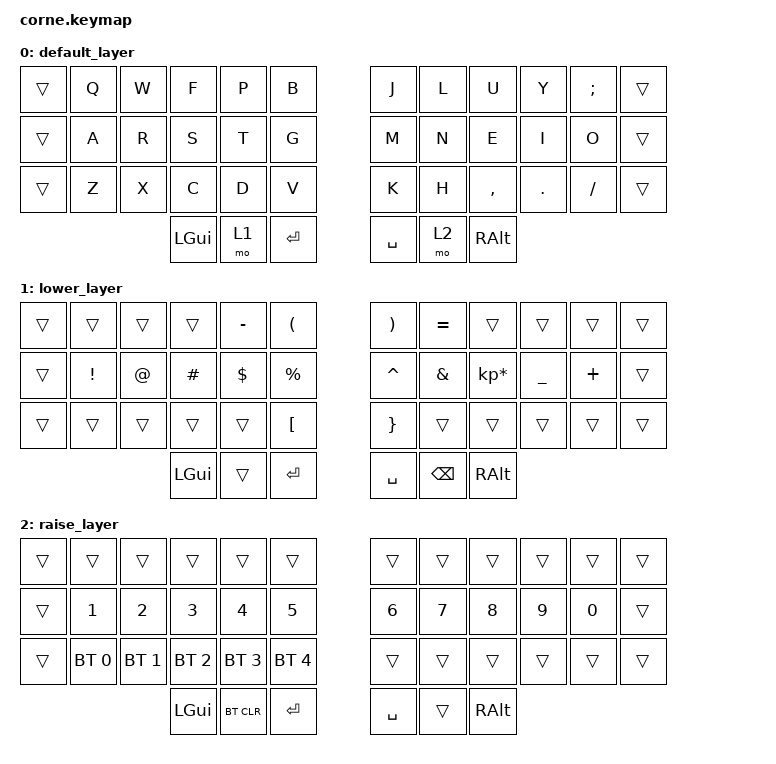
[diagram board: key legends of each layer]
/*
 * Copyright (c) 2020 The ZMK Contributors
 *
 * SPDX-License-Identifier: MIT
 */

#include <behaviors.dtsi>
#include <dt-bindings/zmk/keys.h>
#include <dt-bindings/zmk/bt.h>

/ {
        keymap {
                compatible = "zmk,keymap";

                default_layer {
// -----------------------------------------------------------------------------------------
// |     |  Q  |  W  |  F  |  P  |  B  |   |  J  |  L   |  U  |  Y  |  ;  |     |
// |     |  A  |  R  |  S  |  T  |  G  |   |  M  |  N   |  E  |  I  |  O  |     |
// |     |  Z  |  X  |  C  |  D  |  V  |   |  K  |  H   |  <  |  >  |  /  |     |
//                   | GUI | LWR | ENT |   | SPC | RSE  | ALT |
                        bindings = <
   &trans &kp Q &kp W &kp F    &kp P &kp B     &kp J     &kp L &kp U     &kp Y   &kp SEMI &trans
   &trans &kp A &kp R &kp S    &kp T &kp G     &kp M     &kp N &kp E     &kp I   &kp O    &trans
   &trans &kp Z &kp X &kp C    &kp D &kp V     &kp K     &kp H &kp COMMA &kp DOT &kp FSLH &trans
                      &kp LGUI &mo 1 &kp RET   &kp SPACE &mo 2 &kp RALT
                        >;
                };
                lower_layer {
// -----------------------------------------------------------------------------------------
// |     |     |     |     |  -  |  (  |   |  )  |  =   |     |     |     |     |
// |     |  !  |  @  |  #  |  $  |  %  |   |  ^  |  &   |  *  |  _  |  +  |     |
// |     |     |     |     |     |  [  |   |  ]  |      |     |     |     |     |
//                   | GUI |     | ENT |   | SPC | BSPC | ALT |
                        bindings = <
   &trans &trans   &trans &trans   &kp MINUS &kp LPAR    &kp RPAR  &kp EQUAL &trans          &trans    &trans   &trans
   &trans &kp EXCL &kp AT &kp HASH &kp DLLR  &kp PRCNT   &kp CARET &kp AMPS  &kp KP_MULTIPLY &kp UNDER &kp PLUS &trans
   &trans &trans   &trans &trans   &trans    &kp LBKT    &kp RBRC  &trans    &trans          &trans    &trans   &trans
                          &kp LGUI &trans    &kp RET     &kp SPACE &kp BSPC  &kp RALT
                        >;
                };

                raise_layer {
// -----------------------------------------------------------------------------------------
// |     |     |     |     |     |     |   |     |     |     |     |     |     |
// |     |  1  |  2  |  3  |  4  |  5  |   |  6  |  7  |  8  |  9  |  0  |     |
// |     | BL1 | BL2 | BL3 | BL4 | BL5 |   |     |     |     |     |     |     |
//                   | GUI | BLC | ENT |   | SPC |     | ALT |
                        bindings = <
   &trans &trans       &trans       &trans       &trans       &trans         &trans    &trans     &trans   &trans &trans &trans
   &trans &kp N1       &kp N2       &kp N3       &kp N4       &kp N5         &kp N6    &kp N7     &kp N8   &kp N9 &kp N0 &trans
   &trans &bt BT_SEL 0 &bt BT_SEL 1 &bt BT_SEL 2 &bt BT_SEL 3 &bt BT_SEL 4   &trans    &trans     &trans   &trans &trans &trans
                                    &kp LGUI     &bt BT_CLR   &kp RET        &kp SPACE &trans &kp RALT
                        >;
                };
        };
};
